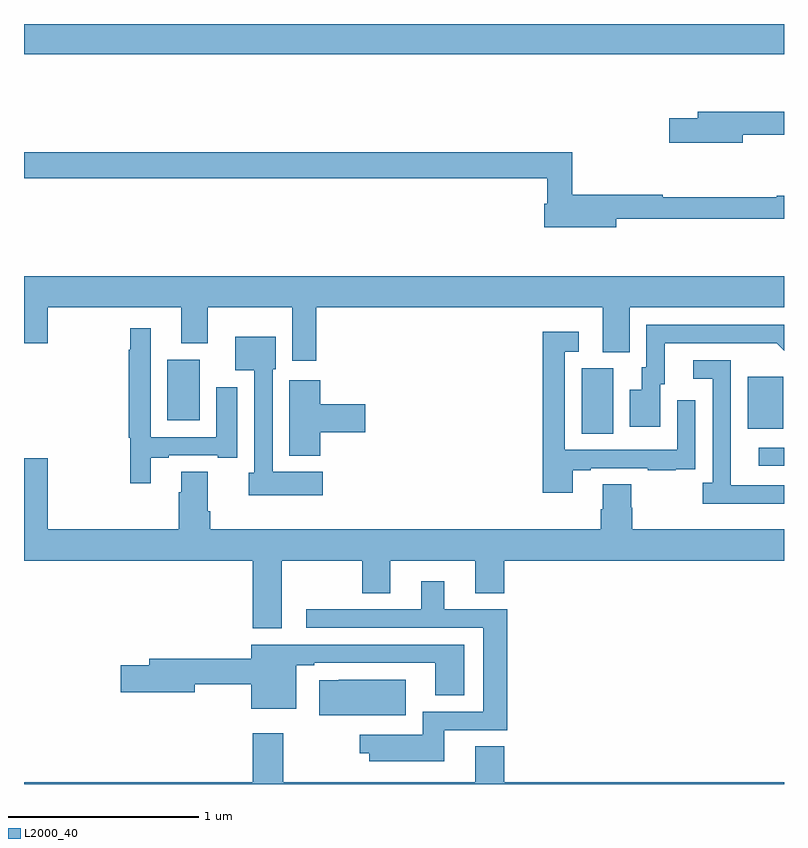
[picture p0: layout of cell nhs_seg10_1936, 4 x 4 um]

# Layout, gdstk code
import gdstk
lib = gdstk.Library(unit=1e-6, precision=1e-09)
def R(c, l, rs):  # rectangles x0, y0, x1, y1
    for r in rs: c.add(gdstk.rectangle(r[:2], r[2:], *l))
def P(c, l, *ps):  # polygons
    for p in ps: c.add(gdstk.Polygon(p, *l))
L2000_40 = (2000, 40)

nhs_seg10_1936 = lib.new_cell('nhs_seg10_1936')
R(nhs_seg10_1936, L2000_40, [(216.867,1274.175,217,1274.271), (215.936,1274.344,216.1,1274.688), (216.809,1274.369,216.997,1274.644), (213.755,1274.414,213.925,1274.734), (213,1276.34,217,1276.5)])
P(nhs_seg10_1936, L2000_40, [(216.784,1275.918),(217,1275.918),(217,1276.039),(216.545,1276.039),(216.545,1276.005),(216.396,1276.005),(216.396,1275.875),(216.784,1275.875)],
  [(216.118,1275.474),(217,1275.474),(217,1275.595),(216.962,1275.595),(216.962,1275.587),(216.362,1275.587),(216.362,1275.602),(215.885,1275.602),(215.885,1275.824),(213,1275.824),(213,1275.688),(215.753,1275.688),(215.753,1275.553),(215.738,1275.553),(215.738,1275.431),(216.118,1275.431)],
  [(214.538,1275.008),(216.047,1275.008),(216.047,1274.773),(216.187,1274.773),(216.187,1275.008),(217,1275.008),(217,1275.172),(213,1275.172),(213,1274.82),(213.124,1274.82),(213.124,1275.008),(213.827,1275.008),(213.827,1274.819),(213.967,1274.819),(213.967,1275.008),(214.412,1275.008),(214.412,1274.727),(214.538,1274.727)],
  [(216.349,1274.604),(216.373,1274.604),(216.373,1274.82),(216.961,1274.82),(217,1274.781),(217,1274.916),(216.276,1274.916),(216.276,1274.694),(216.251,1274.694),(216.251,1274.575),(216.188,1274.575),(216.188,1274.379),(216.349,1274.379)],
  [(213.667,1274.217),(213.763,1274.217),(213.763,1274.229),(214.019,1274.229),(214.019,1274.217),(214.123,1274.217),(214.123,1274.587),(214.013,1274.587),(214.013,1274.325),(213.666,1274.325),(213.666,1274.899),(213.558,1274.899),(213.558,1274.786),(213.55,1274.786),(213.55,1274.322),(213.558,1274.322),(213.558,1274.082),(213.667,1274.082)],
  [(215.887,1274.151),(215.983,1274.151),(215.983,1274.163),(216.283,1274.163),(216.283,1274.151),(216.431,1274.151),(216.431,1274.157),(216.533,1274.157),(216.533,1274.266),(216.534,1274.266),(216.534,1274.521),(216.438,1274.521),(216.438,1274.259),(215.847,1274.259),(215.847,1274.775),(215.92,1274.775),(215.92,1274.881),(215.731,1274.881),(215.731,1274.034),(215.887,1274.034)],
  [(214.573,1274.143),(214.308,1274.143),(214.308,1274.682),(214.324,1274.682),(214.324,1274.854),(214.112,1274.854),(214.112,1274.678),(214.212,1274.678),(214.212,1274.139),(214.184,1274.139),(214.184,1274.021),(214.573,1274.021)],
  [(217,1274.073),(216.721,1274.073),(216.721,1274.273),(216.72,1274.273),(216.72,1274.73),(216.522,1274.73),(216.522,1274.634),(216.624,1274.634),(216.624,1274.086),(216.573,1274.086),(216.573,1273.976),(217,1273.976)],
  [(214.559,1274.351),(214.795,1274.351),(214.795,1274.498),(214.559,1274.498),(214.559,1274.626),(214.397,1274.626),(214.397,1274.228),(214.559,1274.228)],
  [(214.357,1273.676),(214.78,1273.676),(214.78,1273.504),(214.927,1273.504),(214.927,1273.676),(215.375,1273.676),(215.375,1273.504),(215.528,1273.504),(215.528,1273.676),(217,1273.676),(217,1273.84),(216.2,1273.84),(216.2,1273.953),(216.195,1273.953),(216.195,1274.078),(216.047,1274.078),(216.047,1273.946),(216.035,1273.946),(216.035,1273.84),(213.98,1273.84),(213.98,1273.936),(213.967,1273.936),(213.967,1274.144),(213.827,1274.144),(213.827,1274.036),(213.815,1274.036),(213.815,1273.84),(213.124,1273.84),(213.124,1274.215),(213,1274.215),(213,1273.676),(214.205,1273.676),(214.205,1273.319),(214.357,1273.319)],
  [(215.212,1272.783),(215.543,1272.783),(215.543,1273.419),(215.212,1273.419),(215.212,1273.567),(215.09,1273.567),(215.09,1273.419),(214.485,1273.419),(214.485,1273.323),(215.417,1273.323),(215.417,1272.879),(215.099,1272.879),(215.099,1272.759),(214.767,1272.759),(214.767,1272.662),(214.817,1272.662),(214.817,1272.62),(215.212,1272.62)],
  [(214.432,1273.124),(214.528,1273.124),(214.528,1273.137),(215.165,1273.137),(215.165,1272.966),(215.317,1272.966),(215.317,1273.233),(214.196,1273.233),(214.196,1273.16),(213.659,1273.16),(213.659,1273.124),(213.51,1273.124),(213.51,1272.982),(213.898,1272.982),(213.898,1273.024),(214.196,1273.024),(214.196,1272.896),(214.432,1272.896)],
  [(215.008,1273.048),(214.657,1273.048),(214.657,1273.047),(214.554,1273.047),(214.554,1272.863),(215.008,1272.863)],
  [(217,1272.508),(215.528,1272.508),(215.528,1272.698),(215.375,1272.698),(215.375,1272.508),(214.365,1272.508),(214.365,1272.766),(214.205,1272.766),(214.205,1272.508),(213,1272.508),(213,1272.5),(217,1272.5)])

lib.write_gds('nhs_seg10_1936.gds')
